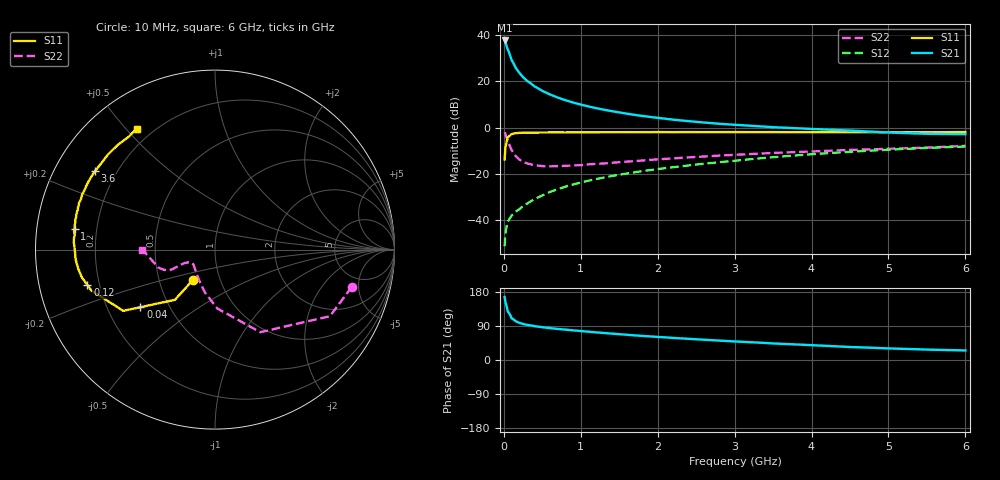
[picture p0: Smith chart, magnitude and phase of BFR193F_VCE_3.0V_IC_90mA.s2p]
! Infineon Technologies  Discrete & RF Semiconductors
! BFR193F
! VCE =  3.0 V,  IC =  90 mA
! Common Emitter S-Parameters:  Jan 2017
# GHz  S  MA  R  50
!  f  S11  S21  S12  S22
! GHz  MAG  ANG  MAG  ANG  MAG  ANG  MAG  ANG
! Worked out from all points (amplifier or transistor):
!   77 points, 10 MHz to 6 GHz, reference 50 ohm
!   highest |S21| = 37.5 dB at 10 MHz (marker M1)
!   |S21| within 3 dB of that: start of sweep to 41.57 MHz
!   unconditionally stable (mu >= 1): 374.4 MHz to 2.848 GHz
!   at 130 MHz: K = 0.69, MSG = 32.1 dB, |S12| = -36.9 dB
!   at 2.2 GHz: K = 1.05, MAG = 8.9 dB, |S12| = -17.1 dB
!   at 6 GHz: K = 0.90, MSG = 2.7 dB, |S12| = -8.1 dB
!   S11 on the Smith chart (normalised r, x): 10 MHz: 0.75, -0.26; 40 MHz: 0.34, -0.30; 120 MHz: 0.15, -0.13; 1 GHz: 0.12, +0.07; 3.6 GHz: 0.12, +0.29; 6 GHz: 0.14, +0.54
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0.01  0.2061 -125.9  75.15 166.3  0.0028 79.4  0.7897 -15.3
0.02  0.3583 -128.6  69.55 153.3  0.0052 69.5  0.7401 -30.1
0.04  0.525 -142.3  54.15 138.6  0.0079 58.8  0.575 -48.5
0.05  0.6149 -146.3  48.39 128.1  0.0093 55.8  0.5244 -61.3
0.1  0.7258 -161.7  28.74 110.2  0.0126 53.0  0.3282 -87.8
0.12  0.7376 -164.4  25.18 107.8  0.0137 53.6  0.2934 -92.8
0.15  0.7582 -168.3  19.95 102.7  0.0154 54.4  0.2468 -102.9
0.2  0.7695 -172.0  15.15 98.1  0.0174 59.2  0.2067 -112.8
0.25  0.775 -174.6  12.18 95.1  0.0205 62.6  0.1815 -121.4
0.3  0.7788 -176.4  10.22 92.8  0.0229 65.9  0.1699 -127.2
0.4  0.7805 -179.3  7.686 89.2  0.0289 69.7  0.1546 -136.2
0.5  0.7832 178.8  6.177 86.5  0.0346 71.3  0.1483 -141.7
0.6  0.7875 177.1  5.168 84.1  0.0411 73.3  0.1465 -146.0
0.8  0.7857 174.2  3.887 80.2  0.0534 75.5  0.1503 -151.0
1  0.7909 171.5  3.129 76.5  0.0657 76.1  0.1555 -153.1
1.1  0.7937 170.3  2.853 74.6  0.0719 76.4  0.1617 -153.8
2.1  0.7995 160.2  1.551 59.7  0.1341 75.8  0.2122 -156.0
3.1  0.8 151.5  1.123 48.0  0.2004 73.2  0.2644 -155.4
3.6  0.7987 146.9  1.003 42.8  0.2376 71.0  0.2889 -156.7
4.1  0.7957 142.0  0.92 38.2  0.2735 68.0  0.3111 -159.3
5.1  0.7944 131.7  0.774 30.0  0.34 61.2  0.3538 -169.6
6  0.8029 122.9  0.722 25.2  0.3919 55.1  0.404 -179.7
